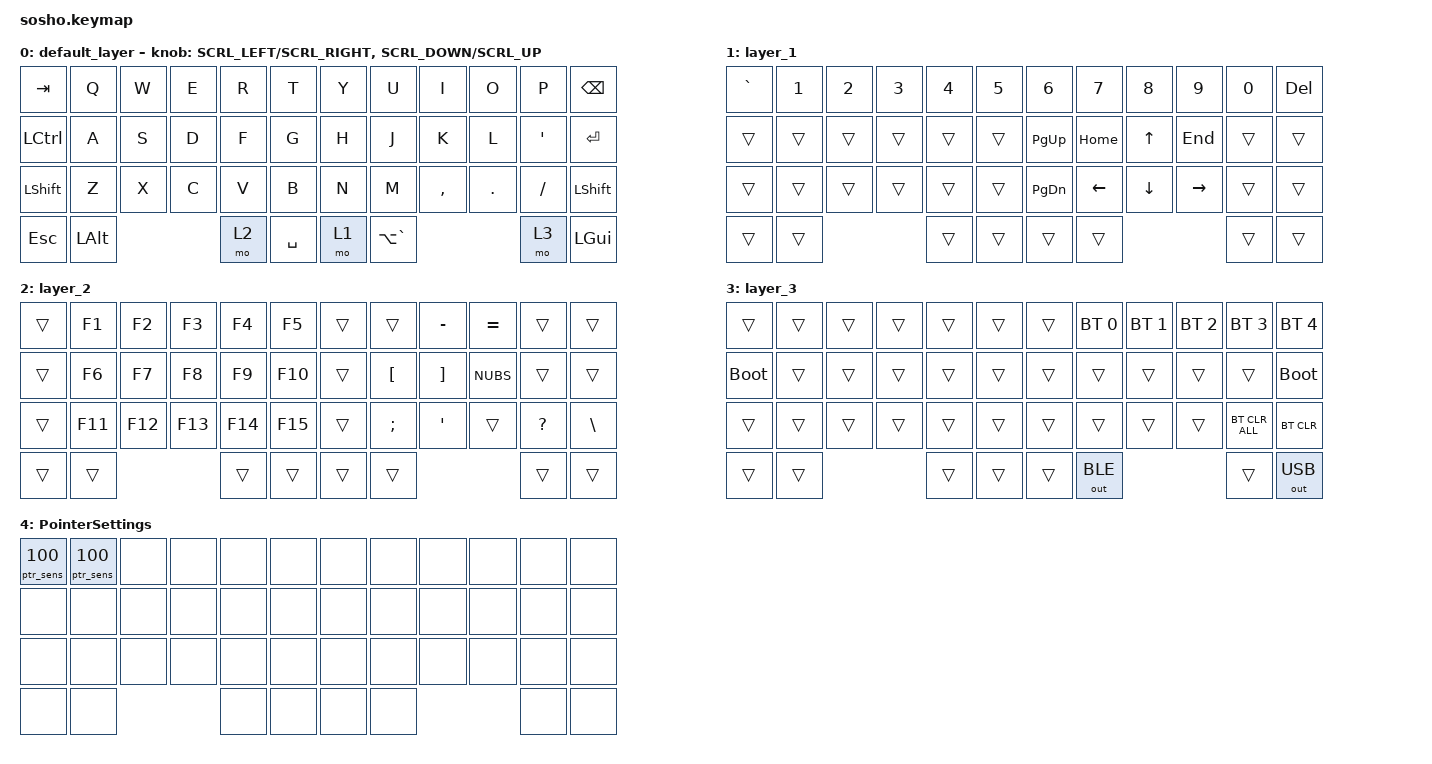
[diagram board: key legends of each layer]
//スクロール量の調整(デフォルト150)
#define ZMK_POINTING_DEFAULT_SCRL_VAL 150

#include <behaviors.dtsi>
#include <dt-bindings/zmk/bt.h>
#include <dt-bindings/zmk/keys.h>
#include <dt-bindings/zmk/pointing.h>
#include <dt-bindings/zmk/outputs.h>

/ {
	behaviors {
		//エンコーダにスクロールを割り当てるためのビヘイビア(zmk_encoder モジュール)
		//press/release の2イベントではなく1イベントで完結するので、負荷時に release が欠落して固まらない
		ec_ms_l: ec_ms_h {
			compatible = "zmk,behavior-encoder-mouse-scroll";
			#sensor-binding-cells = <2>;
		};
		ec_ms_r: ec_ms_v {
			compatible = "zmk,behavior-encoder-mouse-scroll";
			#sensor-binding-cells = <2>;
		};
		//ポインタ感度(パーセント)を保持するだけのビヘイビア。設定アプリが値を書き換える
		ptr_sens: pointer_sensitivity {
			compatible = "sosho,behavior-pointer-sens";
			#binding-cells = <1>;
			display-name = "Pointer Sensitivity";
		};
	};
};

//スクロールの調整
&msc {
    time-to-max-speed-ms = <0>;   // 即座に最大速度（加速なし）
    acceleration-exponent = <0>;   // 加速なし
};
/{
    combos {
        compatible = "zmk,combos";
		//左クリックのコンボ 19 J 20 K
	    combo_LCLK {
            timeout-ms = <50>;
            key-positions = <19 20>;
            bindings = <&mkp LCLK>;
        };

		//右クリックのコンボ 20 K 21 L
        combo_RCLK {
            timeout-ms = <50>;
            key-positions = <20 21>;
            bindings = <&mkp RCLK>;
        };

		//ホイールクリックのコンボ 19 J 21 L
	    combo_MCLK {
            timeout-ms = <90>;
            key-positions = <19 21>;
            bindings = <&mkp MCLK>;
        };

		//作ったけど消した。ポインティングデバイスをスクロールにしたい人向け
		//31 M 32 ,
		combo_SCROLL {
            timeout-ms = <50>;
            key-positions = <31 32>;
            bindings = <&mo 5>; //5 = scroll(reserved)。4 は PointerSettings なので使わない
        };
    };
};

/{
keymap {
    compatible = "zmk,keymap";

    default_layer {
        bindings = <
            &kp TAB    &kp Q   &kp W  &kp E  &kp R  &kp T      &kp Y  &kp U  &kp I      &kp O    &kp P     &kp BSPC
            &kp LCTRL  &kp A   &kp S  &kp D  &kp F  &kp G      &kp H  &kp J  &kp K      &kp L    &kp SQT   &kp ENTER
            &kp LSHFT  &kp Z   &kp X  &kp C  &kp V  &kp B      &kp N  &kp M  &kp COMMA  &kp DOT  &kp SLASH &kp LSHFT
            &kp ESC    &kp LALT              &mo 2  &kp SPACE  &mo 1  &kp LA(GRAVE)              &mo 3     &kp LGUI
        >;
		//&ec_ms_lとrは、上のビヘイビアで作ったもの。
        sensor-bindings = <&ec_ms_l SCRL_LEFT SCRL_RIGHT &ec_ms_r SCRL_DOWN SCRL_UP>;
    };
	
    layer_1 {
        bindings = <
            &kp GRAVE &kp N1  &kp N2  &kp N3  &kp N4  &kp N5       &kp N6    &kp N7   &kp N8   &kp N9    &kp N0 &kp DEL
            &trans    &trans &trans &trans &trans &trans           &kp PG_UP &kp HOME &kp UP   &kp END   &trans &trans
            &trans    &trans &trans &trans &trans &trans           &kp PG_DN &kp LEFT &kp DOWN &kp RIGHT &trans &trans
            &trans    &trans               &trans &trans           &trans    &trans                      &trans &trans
        >;
    };

    layer_2 {
        bindings = <
            &trans &kp F1  &kp F2  &kp F3  &kp F4  &kp F5     &trans  &trans    &kp MINUS &kp EQUAL &trans     &trans
            &trans &kp F6  &kp F7  &kp F8  &kp F9  &kp F10    &trans  &kp LBKT  &kp RBKT  &kp NUBS  &trans     &trans
            &trans &kp F11 &kp F12 &kp F13 &kp F14 &kp F15    &trans  &kp SEMI  &kp SQT   &trans    &kp QMARK  &kp BSLH
            &trans &trans                  &trans  &trans     &trans  &trans                        &trans     &trans
        >;
    };

    layer_3 {
        bindings = <
            &trans &trans &trans &trans &trans &trans      &trans  &bt BT_SEL 0  &bt BT_SEL 1  &bt BT_SEL 2  &bt BT_SEL 3   &bt BT_SEL 4
			//左端と右端の &bootloader は書き込みモードに入るキー。押した側の半分だけが USB ドライブとして現れる
            &bootloader &trans &trans &trans &trans &trans &trans  &trans        &trans        &trans        &trans         &bootloader
            &trans &trans &trans &trans &trans &trans      &trans  &trans        &trans        &trans        &bt BT_CLR_ALL &bt BT_CLR
            &trans &trans               &trans &trans      &trans  &out OUT_BLE                                    &trans         &out OUT_USB
        >;
    };
    //設定値の置き場。このレイヤーは有効化しない(キーとしては使わない)。
    //1番目 = トラックボールの感度(パーセント)、2番目 = トラックパッドの感度(パーセント)。設定アプリが書き換える
    pointer_settings {
        display-name = "PointerSettings";
        bindings = <
            &ptr_sens 100 &ptr_sens 100 &none &none &none &none &none &none &none &none &none &none
            &none &none &none &none &none &none &none &none &none &none &none &none
            &none &none &none &none &none &none &none &none &none &none &none &none
            &none &none &none &none &none &none &none &none
        >;
    };

    //有効なレイヤーは reserved のレイヤーより前に置く(ZMK は有効なレイヤーが先頭に並ぶ前提で番号を振る)
    scroll {
        status = "reserved";
    };

    extra2 {
        status = "reserved";
    };
};
};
